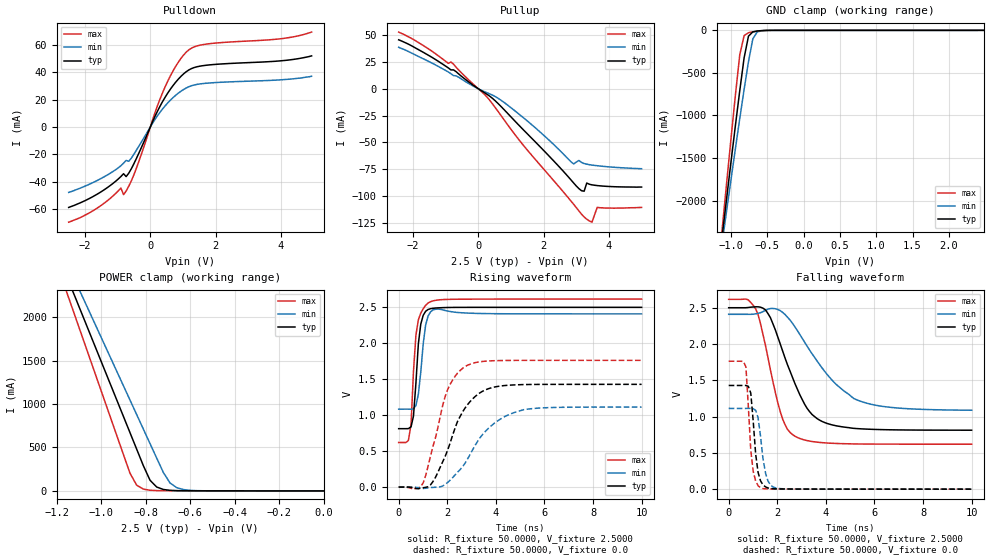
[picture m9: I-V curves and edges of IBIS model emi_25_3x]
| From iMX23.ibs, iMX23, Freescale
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|   Model emi_25_3x
[Model]  emi_25_3x
Model_type I/O
Polarity   Non-Inverting
Enable   Active-Low
Vinl =   0.5000V
Vinh =   2.0000V
Vmeas =  1.2500V
Cref =   15.0000pF
Rref =   50.0000
Vref =   1.2500V
C_comp   3.0000pF   2.0000pF   4.0000pF
[Temperature Range]   50.0000   100.0000   0.0
[Voltage Range]   2.5000V   2.3000V   2.7000V
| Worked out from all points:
|   slope of the pulldown table from 0 to 0.375 V, typ, clamps not added: 20.2 ohm
|   slope of the pullup table from 0 to 0.375 V, typ, clamps not added: 49.7 ohm
|   GND clamp passes 1 mA (typ) near -0.51 V on its own axis
|   POWER clamp passes 1 mA (typ) near -0.47 V on its own axis
|   rising waveform, R_fixture 50.0000, V_fixture 2.5000: 20-80 % time 227ps typ, 238ps min, 229ps max; typ from 0.812 V to 2.5 V
|   rising waveform, R_fixture 50.0000, V_fixture 0.0: 20-80 % time 1.1ns typ, 1.48ns min, 838ps max; typ from 0 V to 1.43 V
|   falling waveform, R_fixture 50.0000, V_fixture 2.5000: 20-80 % time 1.21ns typ, 1.85ns min, 817ps max; typ from 2.5 V to 0.812 V
|   falling waveform, R_fixture 50.0000, V_fixture 0.0: 20-80 % time 232ps typ, 269ps min, 213ps max; typ from 1.43 V to 0 V
[Pulldown]
|Voltage   I(typ)   I(min)   I(max)
-2.5V     -58.8mA    -47.8mA    -69.6mA
-1.62V    -49.02mA   -39.02mA   -59.2mA
-900mV    -36.21mA   -28.3mA    -44.66mA
-820mV    -34.15mA   -26.44mA   -49.44mA
-740mV    -36.25mA   -24.44mA   -46.8mA
-580mV    -30.49mA   -22.76mA   -39.36mA
460mV     22mA       15.63mA    29.69mA
860mV     35.05mA    24.79mA    47.45mA
1.18V     41.72mA    29.44mA    56.4mA
1.66V     45mA       31.88mA    60.42mA
3.98V     48.35mA    34.48mA    64.49mA
4.94V     52mA       37.1mA     69.4mA
[Pullup]
|Voltage   I(typ)   I(min)   I(max)
-2.44V    45.7mA     38.7mA     52.9mA
-920mV    19.49mA    15.68mA    23.73mA
-840mV    17.61mA    14.04mA    25.01mA
200mV     -3.895mA   -2.87mA    -5.598mA
1.32V     -36.45mA   -25.51mA   -50.49mA
2.92V     -87.97mA   -70.11mA   -107.8mA
3.08V     -93.17mA   -66.93mA   -114mA
3.24V     -95.57mA   -69.77mA   -119.6mA
3.32V     -87.98mA   -70.36mA   -121.7mA
3.48V     -89.66mA   -71.25mA   -124.5mA
3.64V     -90.32mA   -71.81mA   -110.7mA
5V        -91.7mA    -74.6mA    -110.7mA
[GND_clamp]
|Voltage   I(typ)   I(min)   I(max)
-2.5V     -12.6A     -11.09A    -14.83A
-1.12V    -2.401A    -2.48A     -2.313A
-1.06V    -1.968A    -2.113A    -1.785A
-1V       -1.54A     -1.749A    -1.265A
-940mV    -1.118A    -1.389A    -760.3mA
-880mV    -708.3mA   -1.036A    -287.2mA
-820mV    -322.2mA   -692.9mA   -61.61mA
-760mV    -68.71mA   -367.6mA   -28.08mA
-700mV    -18.15mA   -99.37mA   -17.8mA
-640mV    -7.575mA   -19.58mA   -10.63mA
-580mV    -3.298mA   -4.307mA   -5.307mA
2.48V     12.62uA    180.9uA    9.733uA
[POWER_clamp]
|Voltage   I(typ)   I(min)   I(max)
-2.49V    12.1A      11.1A      13.45A
-1.17V    2.569A     2.716A     2.401A
-1.14V    2.379A     2.549A     2.182A
-1.11V    2.189A     2.382A     1.961A
-1.08V    1.999A     2.215A     1.741A
-870mV    669.7mA    1.045A     203.4mA
-840mV    479.8mA    877.9mA    65.55mA
-780mV    122.3mA    543.7mA    7.727mA
-750mV    44.8mA     376.6mA    3.933mA
-690mV    6.713mA    90.55mA    2.383mA
-630mV    2.032mA    15.49mA    2.051mA
0V        16.54uA    11.6uA     25.87uA
[Ramp]
| variable   typ   min   max
dV/dt_r  0.8572/1.0940n   0.6675/1.4611n   1.0575/0.8282n
dV/dt_f  1.0123/1.1985n   0.7973/1.7725n   1.2107/0.8183n
R_load = 50.0000
[Rising Waveform]
R_fixture= 50.0000
V_fixture= 2.5000
|time   V(typ)   V(min)   V(max)
0s        812.1mV    1.084V     619.8mV
400ps     812.6mV    1.084V     647.6mV
510ps     838.8mV    1.083V     872.1mV
610ps     988mV      1.089V     1.612V
710ps     1.446V     1.134V     2.112V
810ps     1.992V     1.289V     2.326V
910ps     2.267V     1.599V     2.42V
1.01ns    2.389V     1.995V     2.481V
1.21ns    2.47V      2.379V     2.559V
10ns      2.5V       2.409V     2.615V
[Rising Waveform]
R_fixture= 50.0000
V_fixture= 0.0
|time   V(typ)   V(min)   V(max)
0s        0V         0V         0V
610ps     -10.74mV   -932.1uV   -29.4mV
1.01ns    -9.557mV   -19.29mV   59.25mV
1.41ns    75.92mV    -4.566mV   565.3mV
2.02ns    517.7mV    65.04mV    1.359V
2.42ns    910.5mV    204.7mV    1.584V
2.83ns    1.145V     387.1mV    1.694V
3.74ns    1.373V     832mV      1.754V
5.05ns    1.425V     1.067V     1.762V
10ns      1.429V     1.113V     1.762V
[Falling Waveform]
R_fixture= 50.0000
V_fixture= 2.5000
|time   V(typ)   V(min)   V(max)
0s        2.5V       2.409V     2.615V
810ps     2.503V     2.409V     2.607V
1.11ns    2.512V     2.415V     2.485V
1.62ns    2.418V     2.481V     1.808V
2.12ns    2.003V     2.46V      1.073V
2.42ns    1.715V     2.369V     824.6mV
2.73ns    1.453V     2.235V     729.3mV
3.64ns    971.9mV    1.766V     647.6mV
5.15ns    837.8mV    1.25V      623.3mV
10ns      812.4mV    1.087V     619.8mV
[Falling Waveform]
R_fixture= 50.0000
V_fixture= 0.0
|time   V(typ)   V(min)   V(max)
0s        1.429V     1.113V     1.762V
710ps     1.429V     1.113V     1.683V
910ps     1.323V     1.113V     534.6mV
1.01ns    937.6mV    1.109V     246.4mV
1.11ns    485.8mV    1.086V     113.4mV
1.21ns    232.3mV    986.4mV    47.86mV
1.31ns    116mV      733.1mV    18.48mV
1.52ns    30.77mV    216.6mV    4.684mV
1.92ns    4.269mV    18.82mV    2.127mV
10ns      1.182uV    12.93uV    0V
